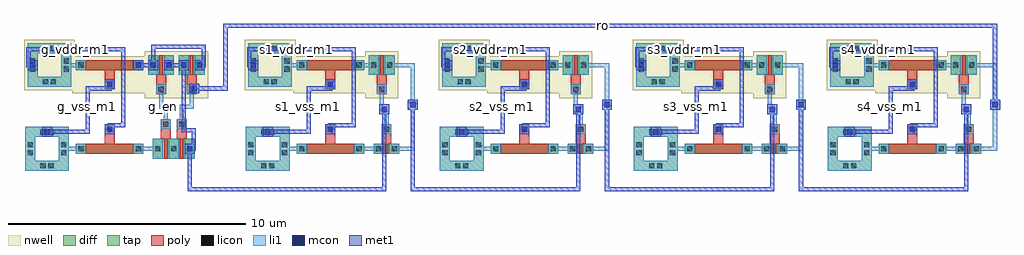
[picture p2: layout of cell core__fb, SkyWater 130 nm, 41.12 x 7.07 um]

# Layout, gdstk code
from math import pi, radians
import gdstk
lib = gdstk.Library(unit=1e-6, precision=1e-09)
def R(c, l, rs):  # rectangles x0, y0, x1, y1
    for r in rs: c.add(gdstk.rectangle(r[:2], r[2:], *l))
def A(c, l, x, y, w, h, nx, ny, dx, dy):  # array of equal rectangles
    R(c, l, [(x+i*dx, y+j*dy, x+i*dx+w, y+j*dy+h) for i in range(nx) for j in range(ny)])
def P(c, l, *ps):  # polygons
    for p in ps: c.add(gdstk.Polygon(p, *l))
nwell = (64, 20)
diff = (65, 20)
tap = (65, 44)
poly = (66, 20)
licon = (66, 44)
li1 = (67, 20)
mcon = (67, 44)
met1 = (68, 20)

mos_array = lib.new_cell('mos_array')
R(mos_array, nwell, [(-0.15,-0.15,2.99,1.39)])
R(mos_array, diff, [(0,0,2.84,0.42)])
R(mos_array, poly, [(0.42,0,2.42,0.42), (1.21,0.42,1.63,1.24)])
R(mos_array, licon, [(0.1,0.1,0.32,0.32), (2.52,0.1,2.74,0.32), (1.31,0.92,1.53,1.14)])
R(mos_array, li1, [(0,0,0.42,0.42), (2.42,0,2.84,0.42), (1.21,0.82,1.63,1.24)])

mph__mph = lib.new_cell('mph__mph')
mph__mph.add(gdstk.Reference(mos_array, (0,0)))

mos_array_1 = lib.new_cell('mos_array$1')
R(mos_array_1, nwell, [(-0.15,-0.15,1.24,1.81)])
R(mos_array_1, diff, [(0,0,1.09,0.84)])
R(mos_array_1, poly, [(0.47,0,0.62,0.84), (0.335,0.84,0.755,1.66)])
R(mos_array_1, licon, [(0.1,0.31,0.32,0.53), (0.77,0.31,0.99,0.53), (0.435,1.34,0.655,1.56)])
R(mos_array_1, li1, [(0,0,0.42,0.84), (0.67,0,1.09,0.84), (0.335,1.24,0.755,1.66)])

mpa__mpa = lib.new_cell('mpa__mpa')
mpa__mpa.add(gdstk.Reference(mos_array_1, (0,0)))

mos_array_2 = lib.new_cell('mos_array$2')
R(mos_array_2, nwell, [(-0.15,-0.15,1.24,1.81)])
R(mos_array_2, diff, [(0,0,1.09,0.84)])
R(mos_array_2, poly, [(0.47,0,0.62,0.84), (0.335,0.84,0.755,1.66)])
R(mos_array_2, licon, [(0.1,0.31,0.32,0.53), (0.77,0.31,0.99,0.53), (0.435,1.34,0.655,1.56)])
R(mos_array_2, li1, [(0,0,0.42,0.84), (0.67,0,1.09,0.84), (0.335,1.24,0.755,1.66)])

mpb__mpb = lib.new_cell('mpb__mpb')
mpb__mpb.add(gdstk.Reference(mos_array_2, (0,0)))

mos_array_3 = lib.new_cell('mos_array$3')
R(mos_array_3, diff, [(0,0,2.84,0.42)])
R(mos_array_3, poly, [(0.42,0,2.42,0.42), (1.21,0.42,1.63,1.24)])
R(mos_array_3, licon, [(0.1,0.1,0.32,0.32), (2.52,0.1,2.74,0.32), (1.31,0.92,1.53,1.14)])
R(mos_array_3, li1, [(0,0,0.42,0.42), (2.42,0,2.84,0.42), (1.21,0.82,1.63,1.24)])

mnt__mnt = lib.new_cell('mnt__mnt')
mnt__mnt.add(gdstk.Reference(mos_array_3, (0,0)))

mos_array_4 = lib.new_cell('mos_array$4')
R(mos_array_4, diff, [(0,0,1.76,0.84)])
R(mos_array_4, poly, [(0.47,0,0.62,0.84), (1.14,0,1.29,0.84), (0.335,0.84,0.755,1.66), (1.005,0.84,1.425,1.66)])
A(mos_array_4, licon, 0.1, 0.31, 0.22, 0.22, 3, 1, 0.67, 0)
R(mos_array_4, licon, [(0.435,1.34,0.655,1.56), (1.105,1.34,1.325,1.56)])
A(mos_array_4, li1, 0, 0, 0.42, 0.84, 3, 1, 0.67, 0)
R(mos_array_4, li1, [(0.335,1.24,0.755,1.66), (1.005,1.24,1.425,1.66)])

mnab__mnab = lib.new_cell('mnab__mnab')
mnab__mnab.add(gdstk.Reference(mos_array_4, (0,0)))

guard_ring = lib.new_cell('guard_ring')
R(guard_ring, nwell, [(-0.15,-0.15,1.99,1.99)])
P(guard_ring, tap, [(0,0),(0,1.42),(0.42,1.42),(0.42,0.42),(1.42,0.42),(1.42,1.42),(0,1.42),(0,1.84),(1.84,1.84),(1.84,0)])
R(guard_ring, licon, [(0.643,0.1,0.863,0.32), (0.977,0.1,1.197,0.32), (0.1,0.643,0.32,0.863), (1.52,0.643,1.74,0.863), (0.1,0.977,0.32,1.197), (1.52,0.977,1.74,1.197), (0.643,1.52,0.863,1.74), (0.977,1.52,1.197,1.74)])
P(guard_ring, li1, [(0,0),(0,1.42),(0.42,1.42),(0.42,0.42),(1.42,0.42),(1.42,1.42),(0,1.42),(0,1.84),(1.84,1.84),(1.84,0)])

nwell_tap__nwell_tap = lib.new_cell('nwell_tap__nwell_tap')
nwell_tap__nwell_tap.add(gdstk.Reference(guard_ring, (0,0)))

guard_ring_1 = lib.new_cell('guard_ring$1')
P(guard_ring_1, tap, [(0,0),(0,1.42),(0.42,1.42),(0.42,0.42),(1.42,0.42),(1.42,1.42),(0,1.42),(0,1.84),(1.84,1.84),(1.84,0)])
R(guard_ring_1, licon, [(0.643,0.1,0.863,0.32), (0.977,0.1,1.197,0.32), (0.1,0.643,0.32,0.863), (1.52,0.643,1.74,0.863), (0.1,0.977,0.32,1.197), (1.52,0.977,1.74,1.197), (0.643,1.52,0.863,1.74), (0.977,1.52,1.197,1.74)])
P(guard_ring_1, li1, [(0,0),(0,1.42),(0.42,1.42),(0.42,0.42),(1.42,0.42),(1.42,1.42),(0,1.42),(0,1.84),(1.84,1.84),(1.84,0)])

psub_tap__psub_tap = lib.new_cell('psub_tap__psub_tap')
psub_tap__psub_tap.add(gdstk.Reference(guard_ring_1, (0,0)))

core__core = lib.new_cell('core__core')
R(core__core, li1, [(3.575,1.24,3.995,1.41), (4.245,1.24,4.665,1.41), (3.375,2.54,3.795,2.71), (4.665,2.54,5.085,2.71)])
core__core.add(gdstk.FlexPath([(0.21,3.74),(-0.41,3.74)], 0.17, ends="flush", simple_path=True, layer=67, datatype=20))  # li1
core__core.add(gdstk.FlexPath([(0.21,0.21),(-0.51,0.21)], 0.17, ends="flush", simple_path=True, layer=67, datatype=20))  # li1
core__core.add(gdstk.FlexPath([(2.63,0.21),(3.45,0.21)], 0.17, ends="flush", simple_path=True, layer=67, datatype=20))  # li1
core__core.add(gdstk.FlexPath([(3.585,2.71),(3.585,1.975),(3.785,1.975),(3.785,1.24)], 0.17, ends="flush", simple_path=True, layer=67, datatype=20))  # li1
core__core.add(gdstk.FlexPath([(4.875,2.71),(4.875,1.975),(4.455,1.975),(4.455,1.24)], 0.17, ends="flush", simple_path=True, layer=67, datatype=20))  # li1
core__core.add(gdstk.Reference(mph__mph, (0,3.95), x_reflection=True))
core__core.add(gdstk.Reference(mpa__mpa, (3.04,4.16), x_reflection=True))
core__core.add(gdstk.Reference(mpb__mpb, (5.42,4.16), rotation=pi))
core__core.add(gdstk.Reference(mnt__mnt, (0,0)))
core__core.add(gdstk.Reference(mnab__mnab, (3.24,-0.21)))
core__core.add(gdstk.Reference(nwell_tap__nwell_tap, (-2.04,2.82)))
core__core.add(gdstk.Reference(psub_tap__psub_tap, (-2.14,-0.71)))
core__core.add(gdstk.Label('vddr', (-0.1,3.74), layer=67, texttype=5))
core__core.add(gdstk.Label('vss', (-0.15,0.21), layer=67, texttype=5))
core__core.add(gdstk.Label('ny', (3.04,0.21), layer=67, texttype=5))
core__core.add(gdstk.Label('en', (3.685,1.975), layer=67, texttype=5))
core__core.add(gdstk.Label('a', (4.665,1.975), layer=67, texttype=5))
core__core.add(gdstk.Label('vddr', (-1.83,3.74), layer=67, texttype=5))
core__core.add(gdstk.Label('vss', (-1.22,0.92), layer=67, texttype=5))
core__core.add(gdstk.Label('mph_py', (2.63,3.74), layer=67, texttype=5))
core__core.add(gdstk.Label('mpa_py', (3.25,3.74), layer=67, texttype=5))
core__core.add(gdstk.Label('mpb_py', (5.21,3.74), layer=67, texttype=5))
core__core.add(gdstk.Label('mpa_y', (3.92,3.74), layer=67, texttype=5))
core__core.add(gdstk.Label('mpb_y', (4.54,3.74), layer=67, texttype=5))
core__core.add(gdstk.Label('mnab_y', (4.79,0.21), layer=67, texttype=5))
core__core.add(gdstk.Label('mph_g', (1.42,2.92), layer=67, texttype=5))
core__core.add(gdstk.Label('mnt_g', (1.42,1.03), layer=67, texttype=5))

g__ro_nand2 = lib.new_cell('g__ro_nand2')
R(g__ro_nand2, li1, [(4.58,0,5,0.42), (-1.43,0.71,-1.01,1.13), (1.21,0.82,1.63,1.24), (1.21,2.71,1.63,3.13), (-2.04,3.53,-1.62,3.95), (2.42,3.53,2.84,3.95), (3.04,3.53,3.46,3.95), (3.04,3.53,3.46,3.95), (3.71,3.53,4.13,3.95), (4.33,3.53,4.75,3.95), (4.33,3.53,4.75,3.95), (5,3.53,5.42,3.95)])
R(g__ro_nand2, mcon, [(4.68,0.1,4.9,0.32), (-1.33,0.81,-1.11,1.03), (1.31,0.92,1.53,1.14), (1.31,2.81,1.53,3.03), (-1.94,3.63,-1.72,3.85), (2.52,3.63,2.74,3.85), (3.14,3.63,3.36,3.85), (3.14,3.63,3.36,3.85), (3.81,3.63,4.03,3.85), (4.43,3.63,4.65,3.85), (4.43,3.63,4.65,3.85), (5.1,3.63,5.32,3.85)])
R(g__ro_nand2, met1, [(4.58,0,5,0.42), (-1.43,0.71,-1.01,1.13), (1.21,0.82,1.63,1.24), (1.21,2.71,1.63,3.13), (-2.04,3.53,-1.62,3.95), (2.42,3.53,2.84,3.95), (3.04,3.53,3.46,3.95), (3.04,3.53,3.46,3.95), (3.71,3.53,4.13,3.95), (4.33,3.53,4.75,3.95), (4.33,3.53,4.75,3.95), (5,3.53,5.42,3.95)])
g__ro_nand2.add(gdstk.FlexPath([(2.63,3.74),(3.25,3.74)], 0.17, ends="flush", simple_path=True, layer=68, datatype=20))  # met1
g__ro_nand2.add(gdstk.FlexPath([(3.25,3.74),(3.25,4.5),(5.38,4.5),(5.38,3.74),(5.21,3.74)], 0.17, ends="flush", simple_path=True, layer=68, datatype=20))  # met1
g__ro_nand2.add(gdstk.FlexPath([(3.92,3.74),(4.54,3.74)], 0.17, ends="flush", simple_path=True, layer=68, datatype=20))  # met1
g__ro_nand2.add(gdstk.FlexPath([(4.54,3.74),(4.54,1),(4.96,1),(4.96,0.21),(4.79,0.21)], 0.17, ends="flush", simple_path=True, layer=68, datatype=20))  # met1
g__ro_nand2.add(gdstk.FlexPath([(1.42,2.92),(1.42,2.75),(0.5,2.75),(0.5,0.92),(-1.22,0.92),(-1.22,0.92)], 0.17, ends="flush", simple_path=True, layer=68, datatype=20))  # met1
g__ro_nand2.add(gdstk.FlexPath([(1.42,1.03),(1.42,1.2),(2,1.2),(2,4.4),(-2,4.4),(-2,3.74),(-1.83,3.74)], 0.17, ends="flush", simple_path=True, layer=68, datatype=20))  # met1
g__ro_nand2.add(gdstk.Reference(core__core, (0,0)))
g__ro_nand2.add(gdstk.Label('py', (2.94,3.74), layer=68, texttype=5))
g__ro_nand2.add(gdstk.Label('py', (4.4,4.5), layer=68, texttype=5))
g__ro_nand2.add(gdstk.Label('y', (4.23,3.74), layer=68, texttype=5))
g__ro_nand2.add(gdstk.Label('y', (4.54,1.68), layer=68, texttype=5))
g__ro_nand2.add(gdstk.Label('vss', (0.5,1.52), layer=68, texttype=5))
g__ro_nand2.add(gdstk.Label('vddr', (1.56,4.4), layer=68, texttype=5))

mos_array_5 = lib.new_cell('mos_array$5')
R(mos_array_5, diff, [(0,0,2.84,0.42)])
R(mos_array_5, poly, [(0.42,0,2.42,0.42), (1.21,0.42,1.63,1.24)])
R(mos_array_5, licon, [(0.1,0.1,0.32,0.32), (2.52,0.1,2.74,0.32), (1.31,0.92,1.53,1.14)])
R(mos_array_5, li1, [(0,0,0.42,0.42), (2.42,0,2.84,0.42), (1.21,0.82,1.63,1.24)])

mnt__mnt_1 = lib.new_cell('mnt__mnt$1')
mnt__mnt_1.add(gdstk.Reference(mos_array_5, (0,0)))

guard_ring_2 = lib.new_cell('guard_ring$2')
P(guard_ring_2, tap, [(0,0),(0,1.42),(0.42,1.42),(0.42,0.42),(1.42,0.42),(1.42,1.42),(0,1.42),(0,1.84),(1.84,1.84),(1.84,0)])
R(guard_ring_2, licon, [(0.643,0.1,0.863,0.32), (0.977,0.1,1.197,0.32), (0.1,0.643,0.32,0.863), (1.52,0.643,1.74,0.863), (0.1,0.977,0.32,1.197), (1.52,0.977,1.74,1.197), (0.643,1.52,0.863,1.74), (0.977,1.52,1.197,1.74)])
P(guard_ring_2, li1, [(0,0),(0,1.42),(0.42,1.42),(0.42,0.42),(1.42,0.42),(1.42,1.42),(0,1.42),(0,1.84),(1.84,1.84),(1.84,0)])

psub_tap__psub_tap_1 = lib.new_cell('psub_tap__psub_tap$1')
psub_tap__psub_tap_1.add(gdstk.Reference(guard_ring_2, (0,0)))

mos_array_1_1 = lib.new_cell('mos_array$1$1')
R(mos_array_1_1, diff, [(0,0,1.09,0.42)])
R(mos_array_1_1, poly, [(0.47,0,0.62,0.42), (0.335,0.42,0.755,1.24)])
R(mos_array_1_1, licon, [(0.1,0.1,0.32,0.32), (0.77,0.1,0.99,0.32), (0.435,0.92,0.655,1.14)])
R(mos_array_1_1, li1, [(0,0,0.42,0.42), (0.67,0,1.09,0.42), (0.335,0.82,0.755,1.24)])

mn__mn = lib.new_cell('mn__mn')
mn__mn.add(gdstk.Reference(mos_array_1_1, (0,0)))

mos_array_2_1 = lib.new_cell('mos_array$2$1')
R(mos_array_2_1, nwell, [(-0.15,-0.15,2.99,1.39)])
R(mos_array_2_1, diff, [(0,0,2.84,0.42)])
R(mos_array_2_1, poly, [(0.42,0,2.42,0.42), (1.21,0.42,1.63,1.24)])
R(mos_array_2_1, licon, [(0.1,0.1,0.32,0.32), (2.52,0.1,2.74,0.32), (1.31,0.92,1.53,1.14)])
R(mos_array_2_1, li1, [(0,0,0.42,0.42), (2.42,0,2.84,0.42), (1.21,0.82,1.63,1.24)])

mph__mph_1 = lib.new_cell('mph__mph$1')
mph__mph_1.add(gdstk.Reference(mos_array_2_1, (0,0)))

guard_ring_1_1 = lib.new_cell('guard_ring$1$1')
R(guard_ring_1_1, nwell, [(-0.15,-0.15,1.99,1.99)])
P(guard_ring_1_1, tap, [(0,0),(0,1.42),(0.42,1.42),(0.42,0.42),(1.42,0.42),(1.42,1.42),(0,1.42),(0,1.84),(1.84,1.84),(1.84,0)])
R(guard_ring_1_1, licon, [(0.643,0.1,0.863,0.32), (0.977,0.1,1.197,0.32), (0.1,0.643,0.32,0.863), (1.52,0.643,1.74,0.863), (0.1,0.977,0.32,1.197), (1.52,0.977,1.74,1.197), (0.643,1.52,0.863,1.74), (0.977,1.52,1.197,1.74)])
P(guard_ring_1_1, li1, [(0,0),(0,1.42),(0.42,1.42),(0.42,0.42),(1.42,0.42),(1.42,1.42),(0,1.42),(0,1.84),(1.84,1.84),(1.84,0)])

nwell_tap__nwell_tap_1 = lib.new_cell('nwell_tap__nwell_tap$1')
nwell_tap__nwell_tap_1.add(gdstk.Reference(guard_ring_1_1, (0,0)))

mos_array_3_1 = lib.new_cell('mos_array$3$1')
R(mos_array_3_1, nwell, [(-0.15,-0.15,1.24,1.81)])
R(mos_array_3_1, diff, [(0,0,1.09,0.84)])
R(mos_array_3_1, poly, [(0.47,0,0.62,0.84), (0.335,0.84,0.755,1.66)])
R(mos_array_3_1, licon, [(0.1,0.31,0.32,0.53), (0.77,0.31,0.99,0.53), (0.435,1.34,0.655,1.56)])
R(mos_array_3_1, li1, [(0,0,0.42,0.84), (0.67,0,1.09,0.84), (0.335,1.24,0.755,1.66)])

mp__mp = lib.new_cell('mp__mp')
mp__mp.add(gdstk.Reference(mos_array_3_1, (0,0)))

core__core_1 = lib.new_cell('core__core$1')
R(core__core_1, li1, [(3.575,1.03,3.995,1.2), (3.375,2.54,3.795,2.71)])
core__core_1.add(gdstk.FlexPath([(3.585,2.71),(3.585,1.87),(3.785,1.87),(3.785,1.03)], 0.17, ends="flush", simple_path=True, layer=67, datatype=20))  # li1
core__core_1.add(gdstk.FlexPath([(3.92,3.74),(4.9,3.74),(4.9,0.21),(4.12,0.21)], 0.17, ends="flush", simple_path=True, layer=67, datatype=20))  # li1
core__core_1.add(gdstk.FlexPath([(2.63,3.74),(3.25,3.74)], 0.17, ends="flush", simple_path=True, layer=67, datatype=20))  # li1
core__core_1.add(gdstk.FlexPath([(2.63,0.21),(3.45,0.21)], 0.17, ends="flush", simple_path=True, layer=67, datatype=20))  # li1
core__core_1.add(gdstk.FlexPath([(0.21,3.74),(-0.41,3.74)], 0.17, ends="flush", simple_path=True, layer=67, datatype=20))  # li1
core__core_1.add(gdstk.FlexPath([(0.21,0.21),(-0.51,0.21)], 0.17, ends="flush", simple_path=True, layer=67, datatype=20))  # li1
core__core_1.add(gdstk.Reference(mnt__mnt_1, (0,0)))
core__core_1.add(gdstk.Reference(psub_tap__psub_tap_1, (-2.14,-0.71)))
core__core_1.add(gdstk.Reference(mn__mn, (3.24,0)))
core__core_1.add(gdstk.Reference(mph__mph_1, (0,3.95), x_reflection=True))
core__core_1.add(gdstk.Reference(nwell_tap__nwell_tap_1, (-2.04,2.82)))
core__core_1.add(gdstk.Reference(mp__mp, (3.04,4.16), x_reflection=True))
core__core_1.add(gdstk.Label('a', (3.685,1.87), layer=67, texttype=5))
core__core_1.add(gdstk.Label('y', (4.9,2.075), layer=67, texttype=5))
core__core_1.add(gdstk.Label('py', (2.94,3.74), layer=67, texttype=5))
core__core_1.add(gdstk.Label('ny', (3.04,0.21), layer=67, texttype=5))
core__core_1.add(gdstk.Label('vddr', (-0.1,3.74), layer=67, texttype=5))
core__core_1.add(gdstk.Label('vss', (-0.15,0.21), layer=67, texttype=5))
core__core_1.add(gdstk.Label('vddr', (-1.83,3.74), layer=67, texttype=5))
core__core_1.add(gdstk.Label('vss', (-1.22,0.92), layer=67, texttype=5))
core__core_1.add(gdstk.Label('mph_g', (1.42,2.92), layer=67, texttype=5))
core__core_1.add(gdstk.Label('mnt_g', (1.42,1.03), layer=67, texttype=5))

s1__ro_stage = lib.new_cell('s1__ro_stage')
R(s1__ro_stage, li1, [(-1.43,0.71,-1.01,1.13), (1.21,0.82,1.63,1.24), (1.21,2.71,1.63,3.13), (-2.04,3.53,-1.62,3.95)])
R(s1__ro_stage, mcon, [(-1.33,0.81,-1.11,1.03), (1.31,0.92,1.53,1.14), (1.31,2.81,1.53,3.03), (-1.94,3.63,-1.72,3.85)])
R(s1__ro_stage, met1, [(-1.43,0.71,-1.01,1.13), (1.21,0.82,1.63,1.24), (1.21,2.71,1.63,3.13), (-2.04,3.53,-1.62,3.95)])
s1__ro_stage.add(gdstk.FlexPath([(1.42,2.92),(1.42,2.75),(0.5,2.75),(0.5,0.92),(-1.22,0.92),(-1.22,0.92)], 0.17, ends="flush", simple_path=True, layer=68, datatype=20))  # met1
s1__ro_stage.add(gdstk.FlexPath([(1.42,1.03),(1.42,1.2),(2.4,1.2),(2.4,4.4),(-2,4.4),(-2,3.74),(-1.83,3.74)], 0.17, ends="flush", simple_path=True, layer=68, datatype=20))  # met1
s1__ro_stage.add(gdstk.Reference(core__core_1, (0,0)))
s1__ro_stage.add(gdstk.Label('vss', (0.5,1.52), layer=68, texttype=5))
s1__ro_stage.add(gdstk.Label('vddr', (1.96,4.4), layer=68, texttype=5))

mos_array_6 = lib.new_cell('mos_array$6')
R(mos_array_6, diff, [(0,0,2.84,0.42)])
R(mos_array_6, poly, [(0.42,0,2.42,0.42), (1.21,0.42,1.63,1.24)])
R(mos_array_6, licon, [(0.1,0.1,0.32,0.32), (2.52,0.1,2.74,0.32), (1.31,0.92,1.53,1.14)])
R(mos_array_6, li1, [(0,0,0.42,0.42), (2.42,0,2.84,0.42), (1.21,0.82,1.63,1.24)])

mnt__mnt_2 = lib.new_cell('mnt__mnt$2')
mnt__mnt_2.add(gdstk.Reference(mos_array_6, (0,0)))

guard_ring_3 = lib.new_cell('guard_ring$3')
P(guard_ring_3, tap, [(0,0),(0,1.42),(0.42,1.42),(0.42,0.42),(1.42,0.42),(1.42,1.42),(0,1.42),(0,1.84),(1.84,1.84),(1.84,0)])
R(guard_ring_3, licon, [(0.643,0.1,0.863,0.32), (0.977,0.1,1.197,0.32), (0.1,0.643,0.32,0.863), (1.52,0.643,1.74,0.863), (0.1,0.977,0.32,1.197), (1.52,0.977,1.74,1.197), (0.643,1.52,0.863,1.74), (0.977,1.52,1.197,1.74)])
P(guard_ring_3, li1, [(0,0),(0,1.42),(0.42,1.42),(0.42,0.42),(1.42,0.42),(1.42,1.42),(0,1.42),(0,1.84),(1.84,1.84),(1.84,0)])

psub_tap__psub_tap_2 = lib.new_cell('psub_tap__psub_tap$2')
psub_tap__psub_tap_2.add(gdstk.Reference(guard_ring_3, (0,0)))

mos_array_1_2 = lib.new_cell('mos_array$1$2')
R(mos_array_1_2, diff, [(0,0,1.09,0.42)])
R(mos_array_1_2, poly, [(0.47,0,0.62,0.42), (0.335,0.42,0.755,1.24)])
R(mos_array_1_2, licon, [(0.1,0.1,0.32,0.32), (0.77,0.1,0.99,0.32), (0.435,0.92,0.655,1.14)])
R(mos_array_1_2, li1, [(0,0,0.42,0.42), (0.67,0,1.09,0.42), (0.335,0.82,0.755,1.24)])

mn__mn_1 = lib.new_cell('mn__mn$1')
mn__mn_1.add(gdstk.Reference(mos_array_1_2, (0,0)))

mos_array_2_2 = lib.new_cell('mos_array$2$2')
R(mos_array_2_2, nwell, [(-0.15,-0.15,2.99,1.39)])
R(mos_array_2_2, diff, [(0,0,2.84,0.42)])
R(mos_array_2_2, poly, [(0.42,0,2.42,0.42), (1.21,0.42,1.63,1.24)])
R(mos_array_2_2, licon, [(0.1,0.1,0.32,0.32), (2.52,0.1,2.74,0.32), (1.31,0.92,1.53,1.14)])
R(mos_array_2_2, li1, [(0,0,0.42,0.42), (2.42,0,2.84,0.42), (1.21,0.82,1.63,1.24)])

mph__mph_2 = lib.new_cell('mph__mph$2')
mph__mph_2.add(gdstk.Reference(mos_array_2_2, (0,0)))

guard_ring_1_2 = lib.new_cell('guard_ring$1$2')
R(guard_ring_1_2, nwell, [(-0.15,-0.15,1.99,1.99)])
P(guard_ring_1_2, tap, [(0,0),(0,1.42),(0.42,1.42),(0.42,0.42),(1.42,0.42),(1.42,1.42),(0,1.42),(0,1.84),(1.84,1.84),(1.84,0)])
R(guard_ring_1_2, licon, [(0.643,0.1,0.863,0.32), (0.977,0.1,1.197,0.32), (0.1,0.643,0.32,0.863), (1.52,0.643,1.74,0.863), (0.1,0.977,0.32,1.197), (1.52,0.977,1.74,1.197), (0.643,1.52,0.863,1.74), (0.977,1.52,1.197,1.74)])
P(guard_ring_1_2, li1, [(0,0),(0,1.42),(0.42,1.42),(0.42,0.42),(1.42,0.42),(1.42,1.42),(0,1.42),(0,1.84),(1.84,1.84),(1.84,0)])

nwell_tap__nwell_tap_2 = lib.new_cell('nwell_tap__nwell_tap$2')
nwell_tap__nwell_tap_2.add(gdstk.Reference(guard_ring_1_2, (0,0)))

mos_array_3_2 = lib.new_cell('mos_array$3$2')
R(mos_array_3_2, nwell, [(-0.15,-0.15,1.24,1.81)])
R(mos_array_3_2, diff, [(0,0,1.09,0.84)])
R(mos_array_3_2, poly, [(0.47,0,0.62,0.84), (0.335,0.84,0.755,1.66)])
R(mos_array_3_2, licon, [(0.1,0.31,0.32,0.53), (0.77,0.31,0.99,0.53), (0.435,1.34,0.655,1.56)])
R(mos_array_3_2, li1, [(0,0,0.42,0.84), (0.67,0,1.09,0.84), (0.335,1.24,0.755,1.66)])

mp__mp_1 = lib.new_cell('mp__mp$1')
mp__mp_1.add(gdstk.Reference(mos_array_3_2, (0,0)))

core__core_2 = lib.new_cell('core__core$2')
R(core__core_2, li1, [(3.575,1.03,3.995,1.2), (3.375,2.54,3.795,2.71)])
core__core_2.add(gdstk.FlexPath([(3.585,2.71),(3.585,1.87),(3.785,1.87),(3.785,1.03)], 0.17, ends="flush", simple_path=True, layer=67, datatype=20))  # li1
core__core_2.add(gdstk.FlexPath([(3.92,3.74),(4.9,3.74),(4.9,0.21),(4.12,0.21)], 0.17, ends="flush", simple_path=True, layer=67, datatype=20))  # li1
core__core_2.add(gdstk.FlexPath([(2.63,3.74),(3.25,3.74)], 0.17, ends="flush", simple_path=True, layer=67, datatype=20))  # li1
core__core_2.add(gdstk.FlexPath([(2.63,0.21),(3.45,0.21)], 0.17, ends="flush", simple_path=True, layer=67, datatype=20))  # li1
core__core_2.add(gdstk.FlexPath([(0.21,3.74),(-0.41,3.74)], 0.17, ends="flush", simple_path=True, layer=67, datatype=20))  # li1
core__core_2.add(gdstk.FlexPath([(0.21,0.21),(-0.51,0.21)], 0.17, ends="flush", simple_path=True, layer=67, datatype=20))  # li1
core__core_2.add(gdstk.Reference(mnt__mnt_2, (0,0)))
core__core_2.add(gdstk.Reference(psub_tap__psub_tap_2, (-2.14,-0.71)))
core__core_2.add(gdstk.Reference(mn__mn_1, (3.24,0)))
core__core_2.add(gdstk.Reference(mph__mph_2, (0,3.95), x_reflection=True))
core__core_2.add(gdstk.Reference(nwell_tap__nwell_tap_2, (-2.04,2.82)))
core__core_2.add(gdstk.Reference(mp__mp_1, (3.04,4.16), x_reflection=True))
core__core_2.add(gdstk.Label('a', (3.685,1.87), layer=67, texttype=5))
core__core_2.add(gdstk.Label('y', (4.9,2.075), layer=67, texttype=5))
core__core_2.add(gdstk.Label('py', (2.94,3.74), layer=67, texttype=5))
core__core_2.add(gdstk.Label('ny', (3.04,0.21), layer=67, texttype=5))
core__core_2.add(gdstk.Label('vddr', (-0.1,3.74), layer=67, texttype=5))
core__core_2.add(gdstk.Label('vss', (-0.15,0.21), layer=67, texttype=5))
core__core_2.add(gdstk.Label('vddr', (-1.83,3.74), layer=67, texttype=5))
core__core_2.add(gdstk.Label('vss', (-1.22,0.92), layer=67, texttype=5))
core__core_2.add(gdstk.Label('mph_g', (1.42,2.92), layer=67, texttype=5))
core__core_2.add(gdstk.Label('mnt_g', (1.42,1.03), layer=67, texttype=5))

s2__ro_stage = lib.new_cell('s2__ro_stage')
R(s2__ro_stage, li1, [(-1.43,0.71,-1.01,1.13), (1.21,0.82,1.63,1.24), (1.21,2.71,1.63,3.13), (-2.04,3.53,-1.62,3.95)])
R(s2__ro_stage, mcon, [(-1.33,0.81,-1.11,1.03), (1.31,0.92,1.53,1.14), (1.31,2.81,1.53,3.03), (-1.94,3.63,-1.72,3.85)])
R(s2__ro_stage, met1, [(-1.43,0.71,-1.01,1.13), (1.21,0.82,1.63,1.24), (1.21,2.71,1.63,3.13), (-2.04,3.53,-1.62,3.95)])
s2__ro_stage.add(gdstk.FlexPath([(1.42,2.92),(1.42,2.75),(0.5,2.75),(0.5,0.92),(-1.22,0.92),(-1.22,0.92)], 0.17, ends="flush", simple_path=True, layer=68, datatype=20))  # met1
s2__ro_stage.add(gdstk.FlexPath([(1.42,1.03),(1.42,1.2),(2.4,1.2),(2.4,4.4),(-2,4.4),(-2,3.74),(-1.83,3.74)], 0.17, ends="flush", simple_path=True, layer=68, datatype=20))  # met1
s2__ro_stage.add(gdstk.Reference(core__core_2, (0,0)))
s2__ro_stage.add(gdstk.Label('vss', (0.5,1.52), layer=68, texttype=5))
s2__ro_stage.add(gdstk.Label('vddr', (1.96,4.4), layer=68, texttype=5))

mos_array_7 = lib.new_cell('mos_array$7')
R(mos_array_7, diff, [(0,0,2.84,0.42)])
R(mos_array_7, poly, [(0.42,0,2.42,0.42), (1.21,0.42,1.63,1.24)])
R(mos_array_7, licon, [(0.1,0.1,0.32,0.32), (2.52,0.1,2.74,0.32), (1.31,0.92,1.53,1.14)])
R(mos_array_7, li1, [(0,0,0.42,0.42), (2.42,0,2.84,0.42), (1.21,0.82,1.63,1.24)])

mnt__mnt_3 = lib.new_cell('mnt__mnt$3')
mnt__mnt_3.add(gdstk.Reference(mos_array_7, (0,0)))

guard_ring_4 = lib.new_cell('guard_ring$4')
P(guard_ring_4, tap, [(0,0),(0,1.42),(0.42,1.42),(0.42,0.42),(1.42,0.42),(1.42,1.42),(0,1.42),(0,1.84),(1.84,1.84),(1.84,0)])
R(guard_ring_4, licon, [(0.643,0.1,0.863,0.32), (0.977,0.1,1.197,0.32), (0.1,0.643,0.32,0.863), (1.52,0.643,1.74,0.863), (0.1,0.977,0.32,1.197), (1.52,0.977,1.74,1.197), (0.643,1.52,0.863,1.74), (0.977,1.52,1.197,1.74)])
P(guard_ring_4, li1, [(0,0),(0,1.42),(0.42,1.42),(0.42,0.42),(1.42,0.42),(1.42,1.42),(0,1.42),(0,1.84),(1.84,1.84),(1.84,0)])

psub_tap__psub_tap_3 = lib.new_cell('psub_tap__psub_tap$3')
psub_tap__psub_tap_3.add(gdstk.Reference(guard_ring_4, (0,0)))

mos_array_1_3 = lib.new_cell('mos_array$1$3')
R(mos_array_1_3, diff, [(0,0,1.09,0.42)])
R(mos_array_1_3, poly, [(0.47,0,0.62,0.42), (0.335,0.42,0.755,1.24)])
R(mos_array_1_3, licon, [(0.1,0.1,0.32,0.32), (0.77,0.1,0.99,0.32), (0.435,0.92,0.655,1.14)])
R(mos_array_1_3, li1, [(0,0,0.42,0.42), (0.67,0,1.09,0.42), (0.335,0.82,0.755,1.24)])

mn__mn_2 = lib.new_cell('mn__mn$2')
mn__mn_2.add(gdstk.Reference(mos_array_1_3, (0,0)))

mos_array_2_3 = lib.new_cell('mos_array$2$3')
R(mos_array_2_3, nwell, [(-0.15,-0.15,2.99,1.39)])
R(mos_array_2_3, diff, [(0,0,2.84,0.42)])
R(mos_array_2_3, poly, [(0.42,0,2.42,0.42), (1.21,0.42,1.63,1.24)])
R(mos_array_2_3, licon, [(0.1,0.1,0.32,0.32), (2.52,0.1,2.74,0.32), (1.31,0.92,1.53,1.14)])
R(mos_array_2_3, li1, [(0,0,0.42,0.42), (2.42,0,2.84,0.42), (1.21,0.82,1.63,1.24)])

mph__mph_3 = lib.new_cell('mph__mph$3')
mph__mph_3.add(gdstk.Reference(mos_array_2_3, (0,0)))

guard_ring_1_3 = lib.new_cell('guard_ring$1$3')
R(guard_ring_1_3, nwell, [(-0.15,-0.15,1.99,1.99)])
P(guard_ring_1_3, tap, [(0,0),(0,1.42),(0.42,1.42),(0.42,0.42),(1.42,0.42),(1.42,1.42),(0,1.42),(0,1.84),(1.84,1.84),(1.84,0)])
R(guard_ring_1_3, licon, [(0.643,0.1,0.863,0.32), (0.977,0.1,1.197,0.32), (0.1,0.643,0.32,0.863), (1.52,0.643,1.74,0.863), (0.1,0.977,0.32,1.197), (1.52,0.977,1.74,1.197), (0.643,1.52,0.863,1.74), (0.977,1.52,1.197,1.74)])
P(guard_ring_1_3, li1, [(0,0),(0,1.42),(0.42,1.42),(0.42,0.42),(1.42,0.42),(1.42,1.42),(0,1.42),(0,1.84),(1.84,1.84),(1.84,0)])

nwell_tap__nwell_tap_3 = lib.new_cell('nwell_tap__nwell_tap$3')
nwell_tap__nwell_tap_3.add(gdstk.Reference(guard_ring_1_3, (0,0)))

mos_array_3_3 = lib.new_cell('mos_array$3$3')
R(mos_array_3_3, nwell, [(-0.15,-0.15,1.24,1.81)])
R(mos_array_3_3, diff, [(0,0,1.09,0.84)])
R(mos_array_3_3, poly, [(0.47,0,0.62,0.84), (0.335,0.84,0.755,1.66)])
R(mos_array_3_3, licon, [(0.1,0.31,0.32,0.53), (0.77,0.31,0.99,0.53), (0.435,1.34,0.655,1.56)])
R(mos_array_3_3, li1, [(0,0,0.42,0.84), (0.67,0,1.09,0.84), (0.335,1.24,0.755,1.66)])

mp__mp_2 = lib.new_cell('mp__mp$2')
mp__mp_2.add(gdstk.Reference(mos_array_3_3, (0,0)))

core__core_3 = lib.new_cell('core__core$3')
R(core__core_3, li1, [(3.575,1.03,3.995,1.2), (3.375,2.54,3.795,2.71)])
core__core_3.add(gdstk.FlexPath([(3.585,2.71),(3.585,1.87),(3.785,1.87),(3.785,1.03)], 0.17, ends="flush", simple_path=True, layer=67, datatype=20))  # li1
core__core_3.add(gdstk.FlexPath([(3.92,3.74),(4.9,3.74),(4.9,0.21),(4.12,0.21)], 0.17, ends="flush", simple_path=True, layer=67, datatype=20))  # li1
core__core_3.add(gdstk.FlexPath([(2.63,3.74),(3.25,3.74)], 0.17, ends="flush", simple_path=True, layer=67, datatype=20))  # li1
core__core_3.add(gdstk.FlexPath([(2.63,0.21),(3.45,0.21)], 0.17, ends="flush", simple_path=True, layer=67, datatype=20))  # li1
core__core_3.add(gdstk.FlexPath([(0.21,3.74),(-0.41,3.74)], 0.17, ends="flush", simple_path=True, layer=67, datatype=20))  # li1
core__core_3.add(gdstk.FlexPath([(0.21,0.21),(-0.51,0.21)], 0.17, ends="flush", simple_path=True, layer=67, datatype=20))  # li1
core__core_3.add(gdstk.Reference(mnt__mnt_3, (0,0)))
core__core_3.add(gdstk.Reference(psub_tap__psub_tap_3, (-2.14,-0.71)))
core__core_3.add(gdstk.Reference(mn__mn_2, (3.24,0)))
core__core_3.add(gdstk.Reference(mph__mph_3, (0,3.95), x_reflection=True))
core__core_3.add(gdstk.Reference(nwell_tap__nwell_tap_3, (-2.04,2.82)))
core__core_3.add(gdstk.Reference(mp__mp_2, (3.04,4.16), x_reflection=True))
core__core_3.add(gdstk.Label('a', (3.685,1.87), layer=67, texttype=5))
core__core_3.add(gdstk.Label('y', (4.9,2.075), layer=67, texttype=5))
core__core_3.add(gdstk.Label('py', (2.94,3.74), layer=67, texttype=5))
core__core_3.add(gdstk.Label('ny', (3.04,0.21), layer=67, texttype=5))
core__core_3.add(gdstk.Label('vddr', (-0.1,3.74), layer=67, texttype=5))
core__core_3.add(gdstk.Label('vss', (-0.15,0.21), layer=67, texttype=5))
core__core_3.add(gdstk.Label('vddr', (-1.83,3.74), layer=67, texttype=5))
core__core_3.add(gdstk.Label('vss', (-1.22,0.92), layer=67, texttype=5))
core__core_3.add(gdstk.Label('mph_g', (1.42,2.92), layer=67, texttype=5))
core__core_3.add(gdstk.Label('mnt_g', (1.42,1.03), layer=67, texttype=5))

s3__ro_stage = lib.new_cell('s3__ro_stage')
R(s3__ro_stage, li1, [(-1.43,0.71,-1.01,1.13), (1.21,0.82,1.63,1.24), (1.21,2.71,1.63,3.13), (-2.04,3.53,-1.62,3.95)])
R(s3__ro_stage, mcon, [(-1.33,0.81,-1.11,1.03), (1.31,0.92,1.53,1.14), (1.31,2.81,1.53,3.03), (-1.94,3.63,-1.72,3.85)])
R(s3__ro_stage, met1, [(-1.43,0.71,-1.01,1.13), (1.21,0.82,1.63,1.24), (1.21,2.71,1.63,3.13), (-2.04,3.53,-1.62,3.95)])
s3__ro_stage.add(gdstk.FlexPath([(1.42,2.92),(1.42,2.75),(0.5,2.75),(0.5,0.92),(-1.22,0.92),(-1.22,0.92)], 0.17, ends="flush", simple_path=True, layer=68, datatype=20))  # met1
s3__ro_stage.add(gdstk.FlexPath([(1.42,1.03),(1.42,1.2),(2.4,1.2),(2.4,4.4),(-2,4.4),(-2,3.74),(-1.83,3.74)], 0.17, ends="flush", simple_path=True, layer=68, datatype=20))  # met1
s3__ro_stage.add(gdstk.Reference(core__core_3, (0,0)))
s3__ro_stage.add(gdstk.Label('vss', (0.5,1.52), layer=68, texttype=5))
s3__ro_stage.add(gdstk.Label('vddr', (1.96,4.4), layer=68, texttype=5))

mos_array_8 = lib.new_cell('mos_array$8')
R(mos_array_8, diff, [(0,0,2.84,0.42)])
R(mos_array_8, poly, [(0.42,0,2.42,0.42), (1.21,0.42,1.63,1.24)])
R(mos_array_8, licon, [(0.1,0.1,0.32,0.32), (2.52,0.1,2.74,0.32), (1.31,0.92,1.53,1.14)])
R(mos_array_8, li1, [(0,0,0.42,0.42), (2.42,0,2.84,0.42), (1.21,0.82,1.63,1.24)])

mnt__mnt_4 = lib.new_cell('mnt__mnt$4')
mnt__mnt_4.add(gdstk.Reference(mos_array_8, (0,0)))

guard_ring_5 = lib.new_cell('guard_ring$5')
P(guard_ring_5, tap, [(0,0),(0,1.42),(0.42,1.42),(0.42,0.42),(1.42,0.42),(1.42,1.42),(0,1.42),(0,1.84),(1.84,1.84),(1.84,0)])
R(guard_ring_5, licon, [(0.643,0.1,0.863,0.32), (0.977,0.1,1.197,0.32), (0.1,0.643,0.32,0.863), (1.52,0.643,1.74,0.863), (0.1,0.977,0.32,1.197), (1.52,0.977,1.74,1.197), (0.643,1.52,0.863,1.74), (0.977,1.52,1.197,1.74)])
P(guard_ring_5, li1, [(0,0),(0,1.42),(0.42,1.42),(0.42,0.42),(1.42,0.42),(1.42,1.42),(0,1.42),(0,1.84),(1.84,1.84),(1.84,0)])

psub_tap__psub_tap_4 = lib.new_cell('psub_tap__psub_tap$4')
psub_tap__psub_tap_4.add(gdstk.Reference(guard_ring_5, (0,0)))

mos_array_1_4 = lib.new_cell('mos_array$1$4')
R(mos_array_1_4, diff, [(0,0,1.09,0.42)])
R(mos_array_1_4, poly, [(0.47,0,0.62,0.42), (0.335,0.42,0.755,1.24)])
R(mos_array_1_4, licon, [(0.1,0.1,0.32,0.32), (0.77,0.1,0.99,0.32), (0.435,0.92,0.655,1.14)])
R(mos_array_1_4, li1, [(0,0,0.42,0.42), (0.67,0,1.09,0.42), (0.335,0.82,0.755,1.24)])

mn__mn_3 = lib.new_cell('mn__mn$3')
mn__mn_3.add(gdstk.Reference(mos_array_1_4, (0,0)))

mos_array_2_4 = lib.new_cell('mos_array$2$4')
R(mos_array_2_4, nwell, [(-0.15,-0.15,2.99,1.39)])
R(mos_array_2_4, diff, [(0,0,2.84,0.42)])
R(mos_array_2_4, poly, [(0.42,0,2.42,0.42), (1.21,0.42,1.63,1.24)])
R(mos_array_2_4, licon, [(0.1,0.1,0.32,0.32), (2.52,0.1,2.74,0.32), (1.31,0.92,1.53,1.14)])
R(mos_array_2_4, li1, [(0,0,0.42,0.42), (2.42,0,2.84,0.42), (1.21,0.82,1.63,1.24)])

mph__mph_4 = lib.new_cell('mph__mph$4')
mph__mph_4.add(gdstk.Reference(mos_array_2_4, (0,0)))

guard_ring_1_4 = lib.new_cell('guard_ring$1$4')
R(guard_ring_1_4, nwell, [(-0.15,-0.15,1.99,1.99)])
P(guard_ring_1_4, tap, [(0,0),(0,1.42),(0.42,1.42),(0.42,0.42),(1.42,0.42),(1.42,1.42),(0,1.42),(0,1.84),(1.84,1.84),(1.84,0)])
R(guard_ring_1_4, licon, [(0.643,0.1,0.863,0.32), (0.977,0.1,1.197,0.32), (0.1,0.643,0.32,0.863), (1.52,0.643,1.74,0.863), (0.1,0.977,0.32,1.197), (1.52,0.977,1.74,1.197), (0.643,1.52,0.863,1.74), (0.977,1.52,1.197,1.74)])
P(guard_ring_1_4, li1, [(0,0),(0,1.42),(0.42,1.42),(0.42,0.42),(1.42,0.42),(1.42,1.42),(0,1.42),(0,1.84),(1.84,1.84),(1.84,0)])

nwell_tap__nwell_tap_4 = lib.new_cell('nwell_tap__nwell_tap$4')
nwell_tap__nwell_tap_4.add(gdstk.Reference(guard_ring_1_4, (0,0)))

mos_array_3_4 = lib.new_cell('mos_array$3$4')
R(mos_array_3_4, nwell, [(-0.15,-0.15,1.24,1.81)])
R(mos_array_3_4, diff, [(0,0,1.09,0.84)])
R(mos_array_3_4, poly, [(0.47,0,0.62,0.84), (0.335,0.84,0.755,1.66)])
R(mos_array_3_4, licon, [(0.1,0.31,0.32,0.53), (0.77,0.31,0.99,0.53), (0.435,1.34,0.655,1.56)])
R(mos_array_3_4, li1, [(0,0,0.42,0.84), (0.67,0,1.09,0.84), (0.335,1.24,0.755,1.66)])

mp__mp_3 = lib.new_cell('mp__mp$3')
mp__mp_3.add(gdstk.Reference(mos_array_3_4, (0,0)))

core__core_4 = lib.new_cell('core__core$4')
R(core__core_4, li1, [(3.575,1.03,3.995,1.2), (3.375,2.54,3.795,2.71)])
core__core_4.add(gdstk.FlexPath([(3.585,2.71),(3.585,1.87),(3.785,1.87),(3.785,1.03)], 0.17, ends="flush", simple_path=True, layer=67, datatype=20))  # li1
core__core_4.add(gdstk.FlexPath([(3.92,3.74),(4.9,3.74),(4.9,0.21),(4.12,0.21)], 0.17, ends="flush", simple_path=True, layer=67, datatype=20))  # li1
core__core_4.add(gdstk.FlexPath([(2.63,3.74),(3.25,3.74)], 0.17, ends="flush", simple_path=True, layer=67, datatype=20))  # li1
core__core_4.add(gdstk.FlexPath([(2.63,0.21),(3.45,0.21)], 0.17, ends="flush", simple_path=True, layer=67, datatype=20))  # li1
core__core_4.add(gdstk.FlexPath([(0.21,3.74),(-0.41,3.74)], 0.17, ends="flush", simple_path=True, layer=67, datatype=20))  # li1
core__core_4.add(gdstk.FlexPath([(0.21,0.21),(-0.51,0.21)], 0.17, ends="flush", simple_path=True, layer=67, datatype=20))  # li1
core__core_4.add(gdstk.Reference(mnt__mnt_4, (0,0)))
core__core_4.add(gdstk.Reference(psub_tap__psub_tap_4, (-2.14,-0.71)))
core__core_4.add(gdstk.Reference(mn__mn_3, (3.24,0)))
core__core_4.add(gdstk.Reference(mph__mph_4, (0,3.95), x_reflection=True))
core__core_4.add(gdstk.Reference(nwell_tap__nwell_tap_4, (-2.04,2.82)))
core__core_4.add(gdstk.Reference(mp__mp_3, (3.04,4.16), x_reflection=True))
core__core_4.add(gdstk.Label('a', (3.685,1.87), layer=67, texttype=5))
core__core_4.add(gdstk.Label('y', (4.9,2.075), layer=67, texttype=5))
core__core_4.add(gdstk.Label('py', (2.94,3.74), layer=67, texttype=5))
core__core_4.add(gdstk.Label('ny', (3.04,0.21), layer=67, texttype=5))
core__core_4.add(gdstk.Label('vddr', (-0.1,3.74), layer=67, texttype=5))
core__core_4.add(gdstk.Label('vss', (-0.15,0.21), layer=67, texttype=5))
core__core_4.add(gdstk.Label('vddr', (-1.83,3.74), layer=67, texttype=5))
core__core_4.add(gdstk.Label('vss', (-1.22,0.92), layer=67, texttype=5))
core__core_4.add(gdstk.Label('mph_g', (1.42,2.92), layer=67, texttype=5))
core__core_4.add(gdstk.Label('mnt_g', (1.42,1.03), layer=67, texttype=5))

s4__ro_stage = lib.new_cell('s4__ro_stage')
R(s4__ro_stage, li1, [(-1.43,0.71,-1.01,1.13), (1.21,0.82,1.63,1.24), (1.21,2.71,1.63,3.13), (-2.04,3.53,-1.62,3.95)])
R(s4__ro_stage, mcon, [(-1.33,0.81,-1.11,1.03), (1.31,0.92,1.53,1.14), (1.31,2.81,1.53,3.03), (-1.94,3.63,-1.72,3.85)])
R(s4__ro_stage, met1, [(-1.43,0.71,-1.01,1.13), (1.21,0.82,1.63,1.24), (1.21,2.71,1.63,3.13), (-2.04,3.53,-1.62,3.95)])
s4__ro_stage.add(gdstk.FlexPath([(1.42,2.92),(1.42,2.75),(0.5,2.75),(0.5,0.92),(-1.22,0.92),(-1.22,0.92)], 0.17, ends="flush", simple_path=True, layer=68, datatype=20))  # met1
s4__ro_stage.add(gdstk.FlexPath([(1.42,1.03),(1.42,1.2),(2.4,1.2),(2.4,4.4),(-2,4.4),(-2,3.74),(-1.83,3.74)], 0.17, ends="flush", simple_path=True, layer=68, datatype=20))  # met1
s4__ro_stage.add(gdstk.Reference(core__core_4, (0,0)))
s4__ro_stage.add(gdstk.Label('vss', (0.5,1.52), layer=68, texttype=5))
s4__ro_stage.add(gdstk.Label('vddr', (1.96,4.4), layer=68, texttype=5))

core__place = lib.new_cell('core__place')
core__place.add(gdstk.Reference(g__ro_nand2, (0,0)))
core__place.add(gdstk.Reference(s1__ro_stage, (9.3,0)))
core__place.add(gdstk.Reference(s2__ro_stage, (17.475,0)))
core__place.add(gdstk.Reference(s3__ro_stage, (25.65,0)))
core__place.add(gdstk.Reference(s4__ro_stage, (33.825,0)))
core__place.add(gdstk.Label('g_a', (4.98,2.75), layer=67, texttype=5))
core__place.add(gdstk.Label('g_en', (3.685,1.975), layer=67, texttype=5))
core__place.add(gdstk.Label('g_y', (4.79,0.21), layer=67, texttype=5))
core__place.add(gdstk.Label('s1_a', (12.985,1.87), layer=67, texttype=5))
core__place.add(gdstk.Label('s1_y', (14.2,2.075), layer=67, texttype=5))
core__place.add(gdstk.Label('s2_a', (21.16,1.87), layer=67, texttype=5))
core__place.add(gdstk.Label('s2_y', (22.375,2.075), layer=67, texttype=5))
core__place.add(gdstk.Label('s3_a', (29.335,1.87), layer=67, texttype=5))
core__place.add(gdstk.Label('s3_y', (30.55,2.075), layer=67, texttype=5))
core__place.add(gdstk.Label('s4_a', (37.51,1.87), layer=67, texttype=5))
core__place.add(gdstk.Label('s4_y', (38.725,2.075), layer=67, texttype=5))
core__place.add(gdstk.Label('g_vddr_m1', (0,4.4), layer=68, texttype=5))
core__place.add(gdstk.Label('g_vss_m1', (0.5,2), layer=68, texttype=5))
core__place.add(gdstk.Label('s1_vddr_m1', (9.3,4.4), layer=68, texttype=5))
core__place.add(gdstk.Label('s1_vss_m1', (9.8,2), layer=68, texttype=5))
core__place.add(gdstk.Label('s2_vddr_m1', (17.475,4.4), layer=68, texttype=5))
core__place.add(gdstk.Label('s2_vss_m1', (17.975,2), layer=68, texttype=5))
core__place.add(gdstk.Label('s3_vddr_m1', (25.65,4.4), layer=68, texttype=5))
core__place.add(gdstk.Label('s3_vss_m1', (26.15,2), layer=68, texttype=5))
core__place.add(gdstk.Label('s4_vddr_m1', (33.825,4.4), layer=68, texttype=5))
core__place.add(gdstk.Label('s4_vss_m1', (34.325,2), layer=68, texttype=5))

core__sig = lib.new_cell('core__sig')
A(core__sig, li1, 12.775, 1.66, 0.42, 0.42, 4, 1, 8.175, 0)
A(core__sig, li1, 13.99, 1.865, 0.42, 0.42, 3, 1, 8.175, 0)
R(core__sig, li1, [(4.58,0,5,0.42)])
A(core__sig, mcon, 12.875, 1.76, 0.22, 0.22, 4, 1, 8.175, 0)
A(core__sig, mcon, 14.09, 1.965, 0.22, 0.22, 3, 1, 8.175, 0)
R(core__sig, mcon, [(4.68,0.1,4.9,0.32)])
A(core__sig, met1, 12.775, 1.66, 0.42, 0.42, 4, 1, 8.175, 0)
A(core__sig, met1, 13.99, 1.865, 0.42, 0.42, 3, 1, 8.175, 0)
R(core__sig, met1, [(4.58,0,5,0.42)])
core__sig.add(gdstk.FlexPath([(4.79,0.21),(4.79,-1.5),(12.985,-1.5),(12.985,1.87)], 0.17, ends="flush", simple_path=True, layer=68, datatype=20))  # met1
core__sig.add(gdstk.FlexPath([(14.2,2.075),(14.2,-1.5),(21.16,-1.5),(21.16,1.87)], 0.17, ends="flush", simple_path=True, layer=68, datatype=20))  # met1
core__sig.add(gdstk.FlexPath([(22.375,2.075),(22.375,-1.5),(29.335,-1.5),(29.335,1.87)], 0.17, ends="flush", simple_path=True, layer=68, datatype=20))  # met1
core__sig.add(gdstk.FlexPath([(30.55,2.075),(30.55,-1.5),(37.51,-1.5),(37.51,1.87)], 0.17, ends="flush", simple_path=True, layer=68, datatype=20))  # met1
core__sig.add(gdstk.Reference(core__place, (0,0)))
core__sig.add(gdstk.Label('g_a', (4.98,2.75), layer=67, texttype=5))
core__sig.add(gdstk.Label('g_en', (3.685,1.975), layer=67, texttype=5))
core__sig.add(gdstk.Label('s4_y', (38.725,2.075), layer=67, texttype=5))
core__sig.add(gdstk.Label('n1', (9.718,-1.5), layer=68, texttype=5))
core__sig.add(gdstk.Label('n2', (17.578,-1.5), layer=68, texttype=5))
core__sig.add(gdstk.Label('n3', (25.752,-1.5), layer=68, texttype=5))
core__sig.add(gdstk.Label('n4', (33.928,-1.5), layer=68, texttype=5))
core__sig.add(gdstk.Label('g_vddr_m1', (0,4.4), layer=68, texttype=5))
core__sig.add(gdstk.Label('g_vss_m1', (0.5,2), layer=68, texttype=5))
core__sig.add(gdstk.Label('s1_vddr_m1', (9.3,4.4), layer=68, texttype=5))
core__sig.add(gdstk.Label('s1_vss_m1', (9.8,2), layer=68, texttype=5))
core__sig.add(gdstk.Label('s2_vddr_m1', (17.475,4.4), layer=68, texttype=5))
core__sig.add(gdstk.Label('s2_vss_m1', (17.975,2), layer=68, texttype=5))
core__sig.add(gdstk.Label('s3_vddr_m1', (25.65,4.4), layer=68, texttype=5))
core__sig.add(gdstk.Label('s3_vss_m1', (26.15,2), layer=68, texttype=5))
core__sig.add(gdstk.Label('s4_vddr_m1', (33.825,4.4), layer=68, texttype=5))
core__sig.add(gdstk.Label('s4_vss_m1', (34.325,2), layer=68, texttype=5))

core__fb = lib.new_cell('core__fb')
R(core__fb, li1, [(38.515,1.865,38.935,2.285), (4.77,2.54,5.19,2.96)])
R(core__fb, mcon, [(38.615,1.965,38.835,2.185), (4.87,2.64,5.09,2.86)])
R(core__fb, met1, [(38.515,1.865,38.935,2.285), (4.77,2.54,5.19,2.96)])
core__fb.add(gdstk.FlexPath([(4.98,2.75),(6.3,2.75),(6.3,5.4),(38.725,5.4),(38.725,2.075)], 0.17, ends="flush", simple_path=True, layer=68, datatype=20))  # met1
core__fb.add(gdstk.Reference(core__sig, (0,0)))
core__fb.add(gdstk.Label('g_en', (3.685,1.975), layer=67, texttype=5))
core__fb.add(gdstk.Label('ro', (22.19,5.4), layer=68, texttype=5))
core__fb.add(gdstk.Label('g_vddr_m1', (0,4.4), layer=68, texttype=5))
core__fb.add(gdstk.Label('g_vss_m1', (0.5,2), layer=68, texttype=5))
core__fb.add(gdstk.Label('s1_vddr_m1', (9.3,4.4), layer=68, texttype=5))
core__fb.add(gdstk.Label('s1_vss_m1', (9.8,2), layer=68, texttype=5))
core__fb.add(gdstk.Label('s2_vddr_m1', (17.475,4.4), layer=68, texttype=5))
core__fb.add(gdstk.Label('s2_vss_m1', (17.975,2), layer=68, texttype=5))
core__fb.add(gdstk.Label('s3_vddr_m1', (25.65,4.4), layer=68, texttype=5))
core__fb.add(gdstk.Label('s3_vss_m1', (26.15,2), layer=68, texttype=5))
core__fb.add(gdstk.Label('s4_vddr_m1', (33.825,4.4), layer=68, texttype=5))
core__fb.add(gdstk.Label('s4_vss_m1', (34.325,2), layer=68, texttype=5))

lib.write_gds('core__fb.gds')
